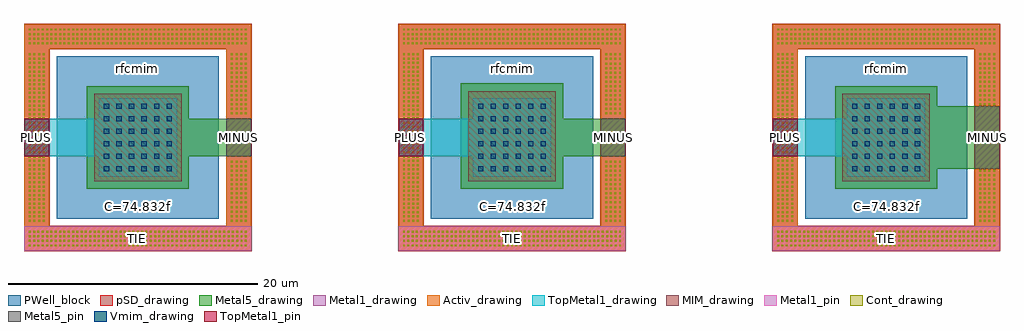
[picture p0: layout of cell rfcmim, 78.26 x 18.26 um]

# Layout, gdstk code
import gdstk
lib = gdstk.Library(unit=1e-6, precision=1e-09)
def R(c, l, rs):  # rectangles x0, y0, x1, y1
    for r in rs: c.add(gdstk.rectangle(r[:2], r[2:], *l))
def A(c, l, x, y, w, h, nx, ny, dx, dy):  # array of equal rectangles
    R(c, l, [(x+i*dx, y+j*dy, x+i*dx+w, y+j*dy+h) for i in range(nx) for j in range(ny)])
def P(c, l, *ps):  # polygons
    for p in ps: c.add(gdstk.Polygon(p, *l))
Activ_drawing = (1, 0)
Cont_drawing = (6, 0)
Metal1_drawing = (8, 0)
Metal1_pin = (8, 2)
pSD_drawing = (14, 0)
MIM_drawing = (36, 0)
PWell_block = (46, 21)
Metal5_drawing = (67, 0)
Metal5_pin = (67, 2)
TopMetal1_drawing = (126, 0)
TopMetal1_pin = (126, 2)
Vmim_drawing = (129, 0)

rfcmim = lib.new_cell('rfcmim')
P(rfcmim, Activ_drawing, [(54.4,-5.6),(54.4,12.6),(72.6,12.6),(72.6,6),(70.6,6),(70.6,10.6),(56.4,10.6),(56.4,-3.6),(70.6,-3.6),(70.6,1),(72.6,1),(72.6,-5.6)],
  [(24.4,-5.6),(24.4,12.6),(42.6,12.6),(42.6,5),(40.6,5),(40.6,10.6),(26.4,10.6),(26.4,-3.6),(40.6,-3.6),(40.6,2),(42.6,2),(42.6,-5.6)],
  [(-5.6,-5.6),(-5.6,12.6),(12.6,12.6),(12.6,5),(10.6,5),(10.6,10.6),(-3.6,10.6),(-3.6,-3.6),(10.6,-3.6),(10.6,2),(12.6,2),(12.6,-5.6)])
A(rfcmim, Cont_drawing, -5.24, -5.24, 0.16, 0.16, 4, 2, 0.345, 0.37)
A(rfcmim, Cont_drawing, -3.855, -5.24, 0.16, 0.16, 4, 2, 0.345, 0.37)
A(rfcmim, Cont_drawing, -2.47, -5.24, 0.16, 0.16, 3, 2, 0.345, 0.37)
A(rfcmim, Cont_drawing, -1.43, -5.24, 0.16, 0.16, 4, 2, 0.345, 0.37)
A(rfcmim, Cont_drawing, -0.045, -5.24, 0.16, 0.16, 3, 2, 0.345, 0.37)
A(rfcmim, Cont_drawing, 0.995, -5.24, 0.16, 0.16, 4, 2, 0.345, 0.37)
A(rfcmim, Cont_drawing, 2.38, -5.24, 0.16, 0.16, 3, 2, 0.345, 0.37)
A(rfcmim, Cont_drawing, 3.42, -5.24, 0.16, 0.16, 4, 2, 0.345, 0.37)
A(rfcmim, Cont_drawing, 4.805, -5.24, 0.16, 0.16, 4, 2, 0.345, 0.37)
A(rfcmim, Cont_drawing, 6.19, -5.24, 0.16, 0.16, 3, 2, 0.345, 0.37)
A(rfcmim, Cont_drawing, 7.23, -5.24, 0.16, 0.16, 4, 2, 0.345, 0.37)
A(rfcmim, Cont_drawing, 8.615, -5.24, 0.16, 0.16, 3, 2, 0.345, 0.37)
A(rfcmim, Cont_drawing, 9.655, -5.24, 0.16, 0.16, 4, 2, 0.345, 0.37)
A(rfcmim, Cont_drawing, 11.04, -5.24, 0.16, 0.16, 3, 2, 0.345, 0.37)
A(rfcmim, Cont_drawing, 24.76, -5.24, 0.16, 0.16, 4, 2, 0.345, 0.37)
A(rfcmim, Cont_drawing, 26.145, -5.24, 0.16, 0.16, 4, 2, 0.345, 0.37)
A(rfcmim, Cont_drawing, 27.53, -5.24, 0.16, 0.16, 3, 2, 0.345, 0.37)
A(rfcmim, Cont_drawing, 28.57, -5.24, 0.16, 0.16, 4, 2, 0.345, 0.37)
A(rfcmim, Cont_drawing, 29.955, -5.24, 0.16, 0.16, 3, 2, 0.345, 0.37)
A(rfcmim, Cont_drawing, 30.995, -5.24, 0.16, 0.16, 4, 2, 0.345, 0.37)
A(rfcmim, Cont_drawing, 32.38, -5.24, 0.16, 0.16, 3, 2, 0.345, 0.37)
A(rfcmim, Cont_drawing, 33.42, -5.24, 0.16, 0.16, 4, 2, 0.345, 0.37)
A(rfcmim, Cont_drawing, 34.805, -5.24, 0.16, 0.16, 4, 2, 0.345, 0.37)
A(rfcmim, Cont_drawing, 36.19, -5.24, 0.16, 0.16, 3, 2, 0.345, 0.37)
A(rfcmim, Cont_drawing, 37.23, -5.24, 0.16, 0.16, 4, 2, 0.345, 0.37)
A(rfcmim, Cont_drawing, 38.615, -5.24, 0.16, 0.16, 3, 2, 0.345, 0.37)
A(rfcmim, Cont_drawing, 39.655, -5.24, 0.16, 0.16, 4, 2, 0.345, 0.37)
A(rfcmim, Cont_drawing, 41.04, -5.24, 0.16, 0.16, 3, 2, 0.345, 0.37)
A(rfcmim, Cont_drawing, 54.76, -5.24, 0.16, 0.16, 4, 2, 0.345, 0.37)
A(rfcmim, Cont_drawing, 56.145, -5.24, 0.16, 0.16, 4, 2, 0.345, 0.37)
A(rfcmim, Cont_drawing, 57.53, -5.24, 0.16, 0.16, 3, 2, 0.345, 0.37)
A(rfcmim, Cont_drawing, 58.57, -5.24, 0.16, 0.16, 4, 2, 0.345, 0.37)
A(rfcmim, Cont_drawing, 59.955, -5.24, 0.16, 0.16, 3, 2, 0.345, 0.37)
A(rfcmim, Cont_drawing, 60.995, -5.24, 0.16, 0.16, 4, 2, 0.345, 0.37)
A(rfcmim, Cont_drawing, 62.38, -5.24, 0.16, 0.16, 3, 2, 0.345, 0.37)
A(rfcmim, Cont_drawing, 63.42, -5.24, 0.16, 0.16, 4, 2, 0.345, 0.37)
A(rfcmim, Cont_drawing, 64.805, -5.24, 0.16, 0.16, 4, 2, 0.345, 0.37)
A(rfcmim, Cont_drawing, 66.19, -5.24, 0.16, 0.16, 3, 2, 0.345, 0.37)
A(rfcmim, Cont_drawing, 67.23, -5.24, 0.16, 0.16, 4, 2, 0.345, 0.37)
A(rfcmim, Cont_drawing, 68.615, -5.24, 0.16, 0.16, 3, 2, 0.345, 0.37)
A(rfcmim, Cont_drawing, 69.655, -5.24, 0.16, 0.16, 4, 2, 0.345, 0.37)
A(rfcmim, Cont_drawing, 71.04, -5.24, 0.16, 0.16, 3, 2, 0.345, 0.37)
A(rfcmim, Cont_drawing, 12.08, -4.87, 0.16, 0.16, 1, 3, 0, 0.375)
A(rfcmim, Cont_drawing, 42.08, -4.87, 0.16, 0.16, 1, 3, 0, 0.375)
A(rfcmim, Cont_drawing, 72.08, -4.87, 0.16, 0.16, 1, 3, 0, 0.375)
A(rfcmim, Cont_drawing, -5.24, -4.495, 0.16, 0.16, 4, 2, 0.345, 0.375)
A(rfcmim, Cont_drawing, -3.855, -4.495, 0.16, 0.16, 4, 2, 0.345, 0.375)
A(rfcmim, Cont_drawing, -2.47, -4.495, 0.16, 0.16, 3, 2, 0.345, 0.375)
A(rfcmim, Cont_drawing, -1.43, -4.495, 0.16, 0.16, 4, 2, 0.345, 0.375)
A(rfcmim, Cont_drawing, -0.045, -4.495, 0.16, 0.16, 3, 2, 0.345, 0.375)
A(rfcmim, Cont_drawing, 0.995, -4.495, 0.16, 0.16, 4, 2, 0.345, 0.375)
A(rfcmim, Cont_drawing, 2.38, -4.495, 0.16, 0.16, 3, 2, 0.345, 0.375)
A(rfcmim, Cont_drawing, 3.42, -4.495, 0.16, 0.16, 4, 2, 0.345, 0.375)
A(rfcmim, Cont_drawing, 4.805, -4.495, 0.16, 0.16, 4, 2, 0.345, 0.375)
A(rfcmim, Cont_drawing, 6.19, -4.495, 0.16, 0.16, 3, 2, 0.345, 0.375)
A(rfcmim, Cont_drawing, 7.23, -4.495, 0.16, 0.16, 4, 2, 0.345, 0.375)
A(rfcmim, Cont_drawing, 8.615, -4.495, 0.16, 0.16, 3, 2, 0.345, 0.375)
A(rfcmim, Cont_drawing, 9.655, -4.495, 0.16, 0.16, 4, 2, 0.345, 0.375)
A(rfcmim, Cont_drawing, 11.04, -4.495, 0.16, 0.16, 3, 2, 0.345, 0.375)
A(rfcmim, Cont_drawing, 24.76, -4.495, 0.16, 0.16, 4, 2, 0.345, 0.375)
A(rfcmim, Cont_drawing, 26.145, -4.495, 0.16, 0.16, 4, 2, 0.345, 0.375)
A(rfcmim, Cont_drawing, 27.53, -4.495, 0.16, 0.16, 3, 2, 0.345, 0.375)
A(rfcmim, Cont_drawing, 28.57, -4.495, 0.16, 0.16, 4, 2, 0.345, 0.375)
A(rfcmim, Cont_drawing, 29.955, -4.495, 0.16, 0.16, 3, 2, 0.345, 0.375)
A(rfcmim, Cont_drawing, 30.995, -4.495, 0.16, 0.16, 4, 2, 0.345, 0.375)
A(rfcmim, Cont_drawing, 32.38, -4.495, 0.16, 0.16, 3, 2, 0.345, 0.375)
A(rfcmim, Cont_drawing, 33.42, -4.495, 0.16, 0.16, 4, 2, 0.345, 0.375)
A(rfcmim, Cont_drawing, 34.805, -4.495, 0.16, 0.16, 4, 2, 0.345, 0.375)
A(rfcmim, Cont_drawing, 36.19, -4.495, 0.16, 0.16, 3, 2, 0.345, 0.375)
A(rfcmim, Cont_drawing, 37.23, -4.495, 0.16, 0.16, 4, 2, 0.345, 0.375)
A(rfcmim, Cont_drawing, 38.615, -4.495, 0.16, 0.16, 3, 2, 0.345, 0.375)
A(rfcmim, Cont_drawing, 39.655, -4.495, 0.16, 0.16, 4, 2, 0.345, 0.375)
A(rfcmim, Cont_drawing, 41.04, -4.495, 0.16, 0.16, 3, 2, 0.345, 0.375)
A(rfcmim, Cont_drawing, 54.76, -4.495, 0.16, 0.16, 4, 2, 0.345, 0.375)
A(rfcmim, Cont_drawing, 56.145, -4.495, 0.16, 0.16, 4, 2, 0.345, 0.375)
A(rfcmim, Cont_drawing, 57.53, -4.495, 0.16, 0.16, 3, 2, 0.345, 0.375)
A(rfcmim, Cont_drawing, 58.57, -4.495, 0.16, 0.16, 4, 2, 0.345, 0.375)
A(rfcmim, Cont_drawing, 59.955, -4.495, 0.16, 0.16, 3, 2, 0.345, 0.375)
A(rfcmim, Cont_drawing, 60.995, -4.495, 0.16, 0.16, 4, 2, 0.345, 0.375)
A(rfcmim, Cont_drawing, 62.38, -4.495, 0.16, 0.16, 3, 2, 0.345, 0.375)
A(rfcmim, Cont_drawing, 63.42, -4.495, 0.16, 0.16, 4, 2, 0.345, 0.375)
A(rfcmim, Cont_drawing, 64.805, -4.495, 0.16, 0.16, 4, 2, 0.345, 0.375)
A(rfcmim, Cont_drawing, 66.19, -4.495, 0.16, 0.16, 3, 2, 0.345, 0.375)
A(rfcmim, Cont_drawing, 67.23, -4.495, 0.16, 0.16, 4, 2, 0.345, 0.375)
A(rfcmim, Cont_drawing, 68.615, -4.495, 0.16, 0.16, 3, 2, 0.345, 0.375)
A(rfcmim, Cont_drawing, 69.655, -4.495, 0.16, 0.16, 4, 2, 0.345, 0.375)
A(rfcmim, Cont_drawing, 71.04, -4.495, 0.16, 0.16, 3, 2, 0.345, 0.375)
A(rfcmim, Cont_drawing, -5.24, -3.24, 0.16, 0.16, 1, 4, 0, 0.34)
A(rfcmim, Cont_drawing, -4.87, -3.24, 0.16, 0.16, 3, 4, 0.375, 0.34)
A(rfcmim, Cont_drawing, 11.33, -3.24, 0.16, 0.16, 3, 2, 0.375, 0.36)
A(rfcmim, Cont_drawing, 24.76, -3.24, 0.16, 0.16, 1, 4, 0, 0.34)
A(rfcmim, Cont_drawing, 25.13, -3.24, 0.16, 0.16, 3, 4, 0.375, 0.34)
A(rfcmim, Cont_drawing, 41.33, -3.24, 0.16, 0.16, 3, 2, 0.375, 0.36)
A(rfcmim, Cont_drawing, 54.76, -3.24, 0.16, 0.16, 1, 4, 0, 0.34)
A(rfcmim, Cont_drawing, 55.13, -3.24, 0.16, 0.16, 3, 4, 0.375, 0.34)
A(rfcmim, Cont_drawing, 71.33, -3.24, 0.16, 0.16, 3, 2, 0.375, 0.36)
A(rfcmim, Cont_drawing, 11.33, -2.515, 0.16, 0.16, 3, 2, 0.375, 0.36)
A(rfcmim, Cont_drawing, 41.33, -2.515, 0.16, 0.16, 3, 2, 0.375, 0.36)
A(rfcmim, Cont_drawing, 71.33, -2.515, 0.16, 0.16, 3, 2, 0.375, 0.36)
A(rfcmim, Cont_drawing, 10.96, -2.155, 0.16, 0.16, 1, 3, 0, 0.365)
A(rfcmim, Cont_drawing, 40.96, -2.155, 0.16, 0.16, 1, 3, 0, 0.365)
A(rfcmim, Cont_drawing, 70.96, -2.155, 0.16, 0.16, 1, 3, 0, 0.365)
A(rfcmim, Cont_drawing, -5.24, -1.875, 0.16, 0.16, 1, 3, 0, 0.34)
A(rfcmim, Cont_drawing, -4.87, -1.875, 0.16, 0.16, 3, 3, 0.375, 0.34)
A(rfcmim, Cont_drawing, 24.76, -1.875, 0.16, 0.16, 1, 3, 0, 0.34)
A(rfcmim, Cont_drawing, 25.13, -1.875, 0.16, 0.16, 3, 3, 0.375, 0.34)
A(rfcmim, Cont_drawing, 54.76, -1.875, 0.16, 0.16, 1, 3, 0, 0.34)
A(rfcmim, Cont_drawing, 55.13, -1.875, 0.16, 0.16, 3, 3, 0.375, 0.34)
A(rfcmim, Cont_drawing, 11.33, -1.79, 0.16, 0.16, 3, 2, 0.375, 0.365)
A(rfcmim, Cont_drawing, 41.33, -1.79, 0.16, 0.16, 3, 2, 0.375, 0.365)
A(rfcmim, Cont_drawing, 71.33, -1.79, 0.16, 0.16, 3, 2, 0.375, 0.365)
A(rfcmim, Cont_drawing, 11.33, -1.065, 0.16, 0.16, 3, 2, 0.375, 0.365)
A(rfcmim, Cont_drawing, 41.33, -1.065, 0.16, 0.16, 3, 2, 0.375, 0.365)
A(rfcmim, Cont_drawing, 71.33, -1.065, 0.16, 0.16, 3, 2, 0.375, 0.365)
A(rfcmim, Cont_drawing, -5.24, -0.85, 0.16, 0.16, 1, 3, 0, 0.34)
A(rfcmim, Cont_drawing, -4.87, -0.85, 0.16, 0.16, 3, 3, 0.375, 0.34)
A(rfcmim, Cont_drawing, 24.76, -0.85, 0.16, 0.16, 1, 3, 0, 0.34)
A(rfcmim, Cont_drawing, 25.13, -0.85, 0.16, 0.16, 3, 3, 0.375, 0.34)
A(rfcmim, Cont_drawing, 54.76, -0.85, 0.16, 0.16, 1, 3, 0, 0.34)
A(rfcmim, Cont_drawing, 55.13, -0.85, 0.16, 0.16, 3, 3, 0.375, 0.34)
A(rfcmim, Cont_drawing, 10.96, -0.34, 0.16, 0.16, 1, 3, 0, 0.365)
A(rfcmim, Cont_drawing, 11.33, -0.34, 0.16, 0.16, 3, 3, 0.375, 0.365)
A(rfcmim, Cont_drawing, 40.96, -0.34, 0.16, 0.16, 1, 3, 0, 0.365)
A(rfcmim, Cont_drawing, 41.33, -0.34, 0.16, 0.16, 3, 3, 0.375, 0.365)
A(rfcmim, Cont_drawing, 70.96, -0.34, 0.16, 0.16, 1, 3, 0, 0.365)
A(rfcmim, Cont_drawing, 71.33, -0.34, 0.16, 0.16, 3, 3, 0.375, 0.365)
A(rfcmim, Cont_drawing, -5.24, 0.175, 0.16, 0.16, 1, 3, 0, 0.34)
A(rfcmim, Cont_drawing, -4.87, 0.175, 0.16, 0.16, 3, 3, 0.375, 0.34)
A(rfcmim, Cont_drawing, 24.76, 0.175, 0.16, 0.16, 1, 3, 0, 0.34)
A(rfcmim, Cont_drawing, 25.13, 0.175, 0.16, 0.16, 3, 3, 0.375, 0.34)
A(rfcmim, Cont_drawing, 54.76, 0.175, 0.16, 0.16, 1, 3, 0, 0.34)
A(rfcmim, Cont_drawing, 55.13, 0.175, 0.16, 0.16, 3, 3, 0.375, 0.34)
A(rfcmim, Cont_drawing, 10.96, 0.75, 0.16, 0.16, 1, 3, 0, 0.365)
A(rfcmim, Cont_drawing, 11.33, 0.75, 0.16, 0.16, 3, 3, 0.375, 0.365)
A(rfcmim, Cont_drawing, 40.96, 0.75, 0.16, 0.16, 1, 3, 0, 0.365)
A(rfcmim, Cont_drawing, 41.33, 0.75, 0.16, 0.16, 3, 3, 0.375, 0.365)
A(rfcmim, Cont_drawing, 71.33, 0.75, 0.16, 0.16, 3, 2, 0.375, 5.335)
A(rfcmim, Cont_drawing, -5.24, 1.2, 0.16, 0.16, 1, 4, 0, 0.34)
A(rfcmim, Cont_drawing, -4.87, 1.2, 0.16, 0.16, 3, 4, 0.375, 0.34)
A(rfcmim, Cont_drawing, 24.76, 1.2, 0.16, 0.16, 1, 4, 0, 0.34)
A(rfcmim, Cont_drawing, 25.13, 1.2, 0.16, 0.16, 3, 4, 0.375, 0.34)
A(rfcmim, Cont_drawing, 54.76, 1.2, 0.16, 0.16, 1, 4, 0, 0.34)
A(rfcmim, Cont_drawing, 55.13, 1.2, 0.16, 0.16, 3, 4, 0.375, 0.34)
A(rfcmim, Cont_drawing, -5.24, 2.565, 0.16, 0.16, 1, 3, 0, 0.34)
A(rfcmim, Cont_drawing, -4.87, 2.565, 0.16, 0.16, 3, 3, 0.375, 0.34)
A(rfcmim, Cont_drawing, 24.76, 2.565, 0.16, 0.16, 1, 3, 0, 0.34)
A(rfcmim, Cont_drawing, 25.13, 2.565, 0.16, 0.16, 3, 3, 0.375, 0.34)
A(rfcmim, Cont_drawing, 54.76, 2.565, 0.16, 0.16, 1, 3, 0, 0.34)
A(rfcmim, Cont_drawing, 55.13, 2.565, 0.16, 0.16, 3, 3, 0.375, 0.34)
A(rfcmim, Cont_drawing, -5.24, 3.59, 0.16, 0.16, 1, 3, 0, 0.34)
A(rfcmim, Cont_drawing, -4.87, 3.59, 0.16, 0.16, 3, 3, 0.375, 0.34)
A(rfcmim, Cont_drawing, 24.76, 3.59, 0.16, 0.16, 1, 3, 0, 0.34)
A(rfcmim, Cont_drawing, 25.13, 3.59, 0.16, 0.16, 3, 3, 0.375, 0.34)
A(rfcmim, Cont_drawing, 54.76, 3.59, 0.16, 0.16, 1, 3, 0, 0.34)
A(rfcmim, Cont_drawing, 55.13, 3.59, 0.16, 0.16, 3, 3, 0.375, 0.34)
A(rfcmim, Cont_drawing, -5.24, 4.615, 0.16, 0.16, 1, 3, 0, 0.34)
A(rfcmim, Cont_drawing, -4.87, 4.615, 0.16, 0.16, 3, 3, 0.375, 0.34)
A(rfcmim, Cont_drawing, 24.76, 4.615, 0.16, 0.16, 1, 3, 0, 0.34)
A(rfcmim, Cont_drawing, 25.13, 4.615, 0.16, 0.16, 3, 3, 0.375, 0.34)
A(rfcmim, Cont_drawing, 54.76, 4.615, 0.16, 0.16, 1, 3, 0, 0.34)
A(rfcmim, Cont_drawing, 55.13, 4.615, 0.16, 0.16, 3, 3, 0.375, 0.34)
A(rfcmim, Cont_drawing, 11.33, 5.36, 0.16, 0.16, 3, 2, 0.375, 0.36)
A(rfcmim, Cont_drawing, 41.33, 5.36, 0.16, 0.16, 3, 2, 0.375, 0.36)
A(rfcmim, Cont_drawing, -5.24, 5.64, 0.16, 0.16, 1, 4, 0, 0.34)
A(rfcmim, Cont_drawing, -4.87, 5.64, 0.16, 0.16, 3, 4, 0.375, 0.34)
A(rfcmim, Cont_drawing, 24.76, 5.64, 0.16, 0.16, 1, 4, 0, 0.34)
A(rfcmim, Cont_drawing, 25.13, 5.64, 0.16, 0.16, 3, 4, 0.375, 0.34)
A(rfcmim, Cont_drawing, 54.76, 5.64, 0.16, 0.16, 1, 4, 0, 0.34)
A(rfcmim, Cont_drawing, 55.13, 5.64, 0.16, 0.16, 3, 4, 0.375, 0.34)
A(rfcmim, Cont_drawing, 11.33, 6.085, 0.16, 0.16, 3, 2, 0.375, 0.36)
A(rfcmim, Cont_drawing, 41.33, 6.085, 0.16, 0.16, 3, 2, 0.375, 0.36)
A(rfcmim, Cont_drawing, 10.96, 6.445, 0.16, 0.16, 1, 3, 0, 0.365)
A(rfcmim, Cont_drawing, 40.96, 6.445, 0.16, 0.16, 1, 3, 0, 0.365)
A(rfcmim, Cont_drawing, 70.96, 6.445, 0.16, 0.16, 1, 3, 0, 0.365)
A(rfcmim, Cont_drawing, 71.33, 6.445, 0.16, 0.16, 3, 3, 0.375, 0.365)
A(rfcmim, Cont_drawing, 11.33, 6.81, 0.16, 0.16, 3, 2, 0.375, 0.365)
A(rfcmim, Cont_drawing, 41.33, 6.81, 0.16, 0.16, 3, 2, 0.375, 0.365)
A(rfcmim, Cont_drawing, -5.24, 7.005, 0.16, 0.16, 1, 3, 0, 0.34)
A(rfcmim, Cont_drawing, -4.87, 7.005, 0.16, 0.16, 3, 3, 0.375, 0.34)
A(rfcmim, Cont_drawing, 24.76, 7.005, 0.16, 0.16, 1, 3, 0, 0.34)
A(rfcmim, Cont_drawing, 25.13, 7.005, 0.16, 0.16, 3, 3, 0.375, 0.34)
A(rfcmim, Cont_drawing, 54.76, 7.005, 0.16, 0.16, 1, 3, 0, 0.34)
A(rfcmim, Cont_drawing, 55.13, 7.005, 0.16, 0.16, 3, 3, 0.375, 0.34)
A(rfcmim, Cont_drawing, 11.33, 7.535, 0.16, 0.16, 3, 2, 0.375, 0.365)
A(rfcmim, Cont_drawing, 41.33, 7.535, 0.16, 0.16, 3, 2, 0.375, 0.365)
A(rfcmim, Cont_drawing, 71.33, 7.535, 0.16, 0.16, 3, 2, 0.375, 0.365)
A(rfcmim, Cont_drawing, -5.24, 8.03, 0.16, 0.16, 1, 3, 0, 0.34)
A(rfcmim, Cont_drawing, -4.87, 8.03, 0.16, 0.16, 3, 3, 0.375, 0.34)
A(rfcmim, Cont_drawing, 24.76, 8.03, 0.16, 0.16, 1, 3, 0, 0.34)
A(rfcmim, Cont_drawing, 25.13, 8.03, 0.16, 0.16, 3, 3, 0.375, 0.34)
A(rfcmim, Cont_drawing, 54.76, 8.03, 0.16, 0.16, 1, 3, 0, 0.34)
A(rfcmim, Cont_drawing, 55.13, 8.03, 0.16, 0.16, 3, 3, 0.375, 0.34)
A(rfcmim, Cont_drawing, 10.96, 8.26, 0.16, 0.16, 1, 3, 0, 0.365)
A(rfcmim, Cont_drawing, 11.33, 8.26, 0.16, 0.16, 3, 3, 0.375, 0.365)
A(rfcmim, Cont_drawing, 40.96, 8.26, 0.16, 0.16, 1, 3, 0, 0.365)
A(rfcmim, Cont_drawing, 41.33, 8.26, 0.16, 0.16, 3, 3, 0.375, 0.365)
A(rfcmim, Cont_drawing, 70.96, 8.26, 0.16, 0.16, 1, 3, 0, 0.365)
A(rfcmim, Cont_drawing, 71.33, 8.26, 0.16, 0.16, 3, 3, 0.375, 0.365)
A(rfcmim, Cont_drawing, -5.24, 9.055, 0.16, 0.16, 1, 3, 0, 0.34)
A(rfcmim, Cont_drawing, -4.87, 9.055, 0.16, 0.16, 3, 3, 0.375, 0.34)
A(rfcmim, Cont_drawing, 24.76, 9.055, 0.16, 0.16, 1, 3, 0, 0.34)
A(rfcmim, Cont_drawing, 25.13, 9.055, 0.16, 0.16, 3, 3, 0.375, 0.34)
A(rfcmim, Cont_drawing, 54.76, 9.055, 0.16, 0.16, 1, 3, 0, 0.34)
A(rfcmim, Cont_drawing, 55.13, 9.055, 0.16, 0.16, 3, 3, 0.375, 0.34)
A(rfcmim, Cont_drawing, 10.96, 9.35, 0.16, 0.16, 1, 3, 0, 0.365)
A(rfcmim, Cont_drawing, 11.33, 9.35, 0.16, 0.16, 3, 3, 0.375, 0.365)
A(rfcmim, Cont_drawing, 40.96, 9.35, 0.16, 0.16, 1, 3, 0, 0.365)
A(rfcmim, Cont_drawing, 41.33, 9.35, 0.16, 0.16, 3, 3, 0.375, 0.365)
A(rfcmim, Cont_drawing, 70.96, 9.35, 0.16, 0.16, 1, 3, 0, 0.365)
A(rfcmim, Cont_drawing, 71.33, 9.35, 0.16, 0.16, 3, 3, 0.375, 0.365)
A(rfcmim, Cont_drawing, -4.87, 10.08, 0.16, 0.16, 3, 1, 0.375, 0)
A(rfcmim, Cont_drawing, 25.13, 10.08, 0.16, 0.16, 3, 1, 0.375, 0)
A(rfcmim, Cont_drawing, 55.13, 10.08, 0.16, 0.16, 3, 1, 0.375, 0)
A(rfcmim, Cont_drawing, -5.24, 10.96, 0.16, 0.16, 4, 2, 0.345, 0.37)
A(rfcmim, Cont_drawing, -3.855, 10.96, 0.16, 0.16, 4, 2, 0.345, 0.37)
A(rfcmim, Cont_drawing, -2.47, 10.96, 0.16, 0.16, 3, 2, 0.345, 0.37)
A(rfcmim, Cont_drawing, -1.43, 10.96, 0.16, 0.16, 4, 2, 0.345, 0.37)
A(rfcmim, Cont_drawing, -0.045, 10.96, 0.16, 0.16, 3, 2, 0.345, 0.37)
A(rfcmim, Cont_drawing, 0.995, 10.96, 0.16, 0.16, 4, 2, 0.345, 0.37)
A(rfcmim, Cont_drawing, 2.38, 10.96, 0.16, 0.16, 3, 2, 0.345, 0.37)
A(rfcmim, Cont_drawing, 3.42, 10.96, 0.16, 0.16, 4, 2, 0.345, 0.37)
A(rfcmim, Cont_drawing, 4.805, 10.96, 0.16, 0.16, 4, 2, 0.345, 0.37)
A(rfcmim, Cont_drawing, 6.19, 10.96, 0.16, 0.16, 3, 2, 0.345, 0.37)
A(rfcmim, Cont_drawing, 7.23, 10.96, 0.16, 0.16, 4, 2, 0.345, 0.37)
A(rfcmim, Cont_drawing, 8.615, 10.96, 0.16, 0.16, 3, 2, 0.345, 0.37)
A(rfcmim, Cont_drawing, 9.655, 10.96, 0.16, 0.16, 4, 2, 0.345, 0.37)
A(rfcmim, Cont_drawing, 11.04, 10.96, 0.16, 0.16, 3, 2, 0.345, 0.37)
A(rfcmim, Cont_drawing, 24.76, 10.96, 0.16, 0.16, 4, 2, 0.345, 0.37)
A(rfcmim, Cont_drawing, 26.145, 10.96, 0.16, 0.16, 4, 2, 0.345, 0.37)
A(rfcmim, Cont_drawing, 27.53, 10.96, 0.16, 0.16, 3, 2, 0.345, 0.37)
A(rfcmim, Cont_drawing, 28.57, 10.96, 0.16, 0.16, 4, 2, 0.345, 0.37)
A(rfcmim, Cont_drawing, 29.955, 10.96, 0.16, 0.16, 3, 2, 0.345, 0.37)
A(rfcmim, Cont_drawing, 30.995, 10.96, 0.16, 0.16, 4, 2, 0.345, 0.37)
A(rfcmim, Cont_drawing, 32.38, 10.96, 0.16, 0.16, 3, 2, 0.345, 0.37)
A(rfcmim, Cont_drawing, 33.42, 10.96, 0.16, 0.16, 4, 2, 0.345, 0.37)
A(rfcmim, Cont_drawing, 34.805, 10.96, 0.16, 0.16, 4, 2, 0.345, 0.37)
A(rfcmim, Cont_drawing, 36.19, 10.96, 0.16, 0.16, 3, 2, 0.345, 0.37)
A(rfcmim, Cont_drawing, 37.23, 10.96, 0.16, 0.16, 4, 2, 0.345, 0.37)
A(rfcmim, Cont_drawing, 38.615, 10.96, 0.16, 0.16, 3, 2, 0.345, 0.37)
A(rfcmim, Cont_drawing, 39.655, 10.96, 0.16, 0.16, 4, 2, 0.345, 0.37)
A(rfcmim, Cont_drawing, 41.04, 10.96, 0.16, 0.16, 3, 2, 0.345, 0.37)
A(rfcmim, Cont_drawing, 54.76, 10.96, 0.16, 0.16, 4, 2, 0.345, 0.37)
A(rfcmim, Cont_drawing, 56.145, 10.96, 0.16, 0.16, 4, 2, 0.345, 0.37)
A(rfcmim, Cont_drawing, 57.53, 10.96, 0.16, 0.16, 3, 2, 0.345, 0.37)
A(rfcmim, Cont_drawing, 58.57, 10.96, 0.16, 0.16, 4, 2, 0.345, 0.37)
A(rfcmim, Cont_drawing, 59.955, 10.96, 0.16, 0.16, 3, 2, 0.345, 0.37)
A(rfcmim, Cont_drawing, 60.995, 10.96, 0.16, 0.16, 4, 2, 0.345, 0.37)
A(rfcmim, Cont_drawing, 62.38, 10.96, 0.16, 0.16, 3, 2, 0.345, 0.37)
A(rfcmim, Cont_drawing, 63.42, 10.96, 0.16, 0.16, 4, 2, 0.345, 0.37)
A(rfcmim, Cont_drawing, 64.805, 10.96, 0.16, 0.16, 4, 2, 0.345, 0.37)
A(rfcmim, Cont_drawing, 66.19, 10.96, 0.16, 0.16, 3, 2, 0.345, 0.37)
A(rfcmim, Cont_drawing, 67.23, 10.96, 0.16, 0.16, 4, 2, 0.345, 0.37)
A(rfcmim, Cont_drawing, 68.615, 10.96, 0.16, 0.16, 3, 2, 0.345, 0.37)
A(rfcmim, Cont_drawing, 69.655, 10.96, 0.16, 0.16, 4, 2, 0.345, 0.37)
A(rfcmim, Cont_drawing, 71.04, 10.96, 0.16, 0.16, 3, 2, 0.345, 0.37)
A(rfcmim, Cont_drawing, 12.08, 11.33, 0.16, 0.16, 1, 3, 0, 0.375)
A(rfcmim, Cont_drawing, 42.08, 11.33, 0.16, 0.16, 1, 3, 0, 0.375)
A(rfcmim, Cont_drawing, 72.08, 11.33, 0.16, 0.16, 1, 3, 0, 0.375)
A(rfcmim, Cont_drawing, -5.24, 11.705, 0.16, 0.16, 4, 2, 0.345, 0.375)
A(rfcmim, Cont_drawing, -3.855, 11.705, 0.16, 0.16, 4, 2, 0.345, 0.375)
A(rfcmim, Cont_drawing, -2.47, 11.705, 0.16, 0.16, 3, 2, 0.345, 0.375)
A(rfcmim, Cont_drawing, -1.43, 11.705, 0.16, 0.16, 4, 2, 0.345, 0.375)
A(rfcmim, Cont_drawing, -0.045, 11.705, 0.16, 0.16, 3, 2, 0.345, 0.375)
A(rfcmim, Cont_drawing, 0.995, 11.705, 0.16, 0.16, 4, 2, 0.345, 0.375)
A(rfcmim, Cont_drawing, 2.38, 11.705, 0.16, 0.16, 3, 2, 0.345, 0.375)
A(rfcmim, Cont_drawing, 3.42, 11.705, 0.16, 0.16, 4, 2, 0.345, 0.375)
A(rfcmim, Cont_drawing, 4.805, 11.705, 0.16, 0.16, 4, 2, 0.345, 0.375)
A(rfcmim, Cont_drawing, 6.19, 11.705, 0.16, 0.16, 3, 2, 0.345, 0.375)
A(rfcmim, Cont_drawing, 7.23, 11.705, 0.16, 0.16, 4, 2, 0.345, 0.375)
A(rfcmim, Cont_drawing, 8.615, 11.705, 0.16, 0.16, 3, 2, 0.345, 0.375)
A(rfcmim, Cont_drawing, 9.655, 11.705, 0.16, 0.16, 4, 2, 0.345, 0.375)
A(rfcmim, Cont_drawing, 11.04, 11.705, 0.16, 0.16, 3, 2, 0.345, 0.375)
A(rfcmim, Cont_drawing, 24.76, 11.705, 0.16, 0.16, 4, 2, 0.345, 0.375)
A(rfcmim, Cont_drawing, 26.145, 11.705, 0.16, 0.16, 4, 2, 0.345, 0.375)
A(rfcmim, Cont_drawing, 27.53, 11.705, 0.16, 0.16, 3, 2, 0.345, 0.375)
A(rfcmim, Cont_drawing, 28.57, 11.705, 0.16, 0.16, 4, 2, 0.345, 0.375)
A(rfcmim, Cont_drawing, 29.955, 11.705, 0.16, 0.16, 3, 2, 0.345, 0.375)
A(rfcmim, Cont_drawing, 30.995, 11.705, 0.16, 0.16, 4, 2, 0.345, 0.375)
A(rfcmim, Cont_drawing, 32.38, 11.705, 0.16, 0.16, 3, 2, 0.345, 0.375)
A(rfcmim, Cont_drawing, 33.42, 11.705, 0.16, 0.16, 4, 2, 0.345, 0.375)
A(rfcmim, Cont_drawing, 34.805, 11.705, 0.16, 0.16, 4, 2, 0.345, 0.375)
A(rfcmim, Cont_drawing, 36.19, 11.705, 0.16, 0.16, 3, 2, 0.345, 0.375)
A(rfcmim, Cont_drawing, 37.23, 11.705, 0.16, 0.16, 4, 2, 0.345, 0.375)
A(rfcmim, Cont_drawing, 38.615, 11.705, 0.16, 0.16, 3, 2, 0.345, 0.375)
A(rfcmim, Cont_drawing, 39.655, 11.705, 0.16, 0.16, 4, 2, 0.345, 0.375)
A(rfcmim, Cont_drawing, 41.04, 11.705, 0.16, 0.16, 3, 2, 0.345, 0.375)
A(rfcmim, Cont_drawing, 54.76, 11.705, 0.16, 0.16, 4, 2, 0.345, 0.375)
A(rfcmim, Cont_drawing, 56.145, 11.705, 0.16, 0.16, 4, 2, 0.345, 0.375)
A(rfcmim, Cont_drawing, 57.53, 11.705, 0.16, 0.16, 3, 2, 0.345, 0.375)
A(rfcmim, Cont_drawing, 58.57, 11.705, 0.16, 0.16, 4, 2, 0.345, 0.375)
A(rfcmim, Cont_drawing, 59.955, 11.705, 0.16, 0.16, 3, 2, 0.345, 0.375)
A(rfcmim, Cont_drawing, 60.995, 11.705, 0.16, 0.16, 4, 2, 0.345, 0.375)
A(rfcmim, Cont_drawing, 62.38, 11.705, 0.16, 0.16, 3, 2, 0.345, 0.375)
A(rfcmim, Cont_drawing, 63.42, 11.705, 0.16, 0.16, 4, 2, 0.345, 0.375)
A(rfcmim, Cont_drawing, 64.805, 11.705, 0.16, 0.16, 4, 2, 0.345, 0.375)
A(rfcmim, Cont_drawing, 66.19, 11.705, 0.16, 0.16, 3, 2, 0.345, 0.375)
A(rfcmim, Cont_drawing, 67.23, 11.705, 0.16, 0.16, 4, 2, 0.345, 0.375)
A(rfcmim, Cont_drawing, 68.615, 11.705, 0.16, 0.16, 3, 2, 0.345, 0.375)
A(rfcmim, Cont_drawing, 69.655, 11.705, 0.16, 0.16, 4, 2, 0.345, 0.375)
A(rfcmim, Cont_drawing, 71.04, 11.705, 0.16, 0.16, 3, 2, 0.345, 0.375)
R(rfcmim, Cont_drawing, [(12.08,-5.24,12.24,-5.08), (42.08,-5.24,42.24,-5.08), (72.08,-5.24,72.24,-5.08), (10.96,-3.24,11.12,-3.08), (40.96,-3.24,41.12,-3.08), (70.96,-3.24,71.12,-3.08), (10.96,-2.88,11.12,-2.72), (40.96,-2.88,41.12,-2.72), (70.96,-2.88,71.12,-2.72), (10.96,-2.515,11.12,-2.355), (40.96,-2.515,41.12,-2.355), (70.96,-2.515,71.12,-2.355), (10.96,-1.065,11.12,-0.905), (40.96,-1.065,41.12,-0.905), (70.96,-1.065,71.12,-0.905), (10.96,-0.7,11.12,-0.54), (40.96,-0.7,41.12,-0.54), (70.96,-0.7,71.12,-0.54), (70.96,0.75,71.12,0.91), (10.96,5.36,11.12,5.52), (40.96,5.36,41.12,5.52), (10.96,5.72,11.12,5.88), (40.96,5.72,41.12,5.88), (10.96,6.085,11.12,6.245), (40.96,6.085,41.12,6.245), (70.96,6.085,71.12,6.245), (10.96,7.535,11.12,7.695), (40.96,7.535,41.12,7.695), (70.96,7.535,71.12,7.695), (10.96,7.9,11.12,8.06), (40.96,7.9,41.12,8.06), (70.96,7.9,71.12,8.06), (-5.24,10.08,-5.08,10.24), (24.76,10.08,24.92,10.24), (54.76,10.08,54.92,10.24), (12.08,10.96,12.24,11.12), (42.08,10.96,42.24,11.12), (72.08,10.96,72.24,11.12)])
P(rfcmim, Metal1_drawing, [(54.4,-5.6),(54.4,12.6),(72.6,12.6),(72.6,6),(70.6,6),(70.6,10.6),(56.4,10.6),(56.4,-3.6),(70.6,-3.6),(70.6,1),(72.6,1),(72.6,-5.6)],
  [(24.4,-5.6),(24.4,12.6),(42.6,12.6),(42.6,5),(40.6,5),(40.6,10.6),(26.4,10.6),(26.4,-3.6),(40.6,-3.6),(40.6,2),(42.6,2),(42.6,-5.6)],
  [(-5.6,-5.6),(-5.6,12.6),(12.6,12.6),(12.6,5),(10.6,5),(10.6,10.6),(-3.6,10.6),(-3.6,-3.6),(10.6,-3.6),(10.6,2),(12.6,2),(12.6,-5.6)])
A(rfcmim, Metal1_pin, -5.6, -5.6, 18.2, 2, 3, 1, 30, 0)
P(rfcmim, pSD_drawing, [(24.37,-5.63),(24.37,12.63),(40.57,12.63),(40.57,10.57),(26.43,10.57),(26.43,-3.57),(40.57,-3.57),(40.57,12.63),(42.63,12.63),(42.63,-5.63)],
  [(54.37,-5.63),(54.37,12.63),(70.57,12.63),(70.57,10.57),(56.43,10.57),(56.43,-3.57),(70.57,-3.57),(70.57,12.63),(72.63,12.63),(72.63,-5.63)],
  [(-5.63,-5.63),(-5.63,12.63),(10.57,12.63),(10.57,10.57),(-3.57,10.57),(-3.57,-3.57),(10.57,-3.57),(10.57,12.63),(12.63,12.63),(12.63,-5.63)])
R(rfcmim, MIM_drawing, [(0,0,7,7), (30,0,37,7.2), (60,0,67,7)])
A(rfcmim, PWell_block, -3, -3, 13, 13, 3, 1, 30, 0)
R(rfcmim, Metal5_drawing, [(-0.6,-0.6,7.6,7.6), (-0.6,-0.6,7.6,7.6), (29.4,-0.6,37.6,7.857), (59.4,-0.6,67.6,7.6), (59.4,-0.6,67.6,7.6), (67.6,1,72.6,6), (7.6,2,12.6,5), (37.6,2,42.6,5)])
R(rfcmim, Metal5_pin, [(70.6,1,72.6,6), (10.6,2,12.6,5), (40.6,2,42.6,5)])
A(rfcmim, TopMetal1_drawing, 0.36, 0.36, 6.28, 6.28, 3, 1, 30, 0)
A(rfcmim, TopMetal1_drawing, -5.6, 2, 5.96, 3, 3, 1, 30, 0)
A(rfcmim, TopMetal1_pin, -5.6, 2, 2, 3, 3, 1, 30, 0)
A(rfcmim, Vmim_drawing, 1.78, 0.78, 0.42, 0.42, 5, 2, 1.005, 1)
A(rfcmim, Vmim_drawing, 31.78, 0.78, 0.42, 0.42, 5, 2, 1.005, 1)
A(rfcmim, Vmim_drawing, 61.78, 0.78, 0.42, 0.42, 5, 2, 1.005, 1)
A(rfcmim, Vmim_drawing, 0.78, 1.78, 0.42, 0.42, 1, 5, 0, 1.005)
A(rfcmim, Vmim_drawing, 30.78, 1.78, 0.42, 0.42, 1, 5, 0, 1.005)
A(rfcmim, Vmim_drawing, 60.78, 1.78, 0.42, 0.42, 1, 5, 0, 1.005)
A(rfcmim, Vmim_drawing, 1.78, 2.785, 0.42, 0.42, 5, 4, 1.005, 1.005)
A(rfcmim, Vmim_drawing, 31.78, 2.785, 0.42, 0.42, 5, 4, 1.005, 1.005)
A(rfcmim, Vmim_drawing, 61.78, 2.785, 0.42, 0.42, 5, 4, 1.005, 1.005)
R(rfcmim, Vmim_drawing, [(0.78,0.78,1.2,1.2), (30.78,0.78,31.2,1.2), (60.78,0.78,61.2,1.2)])
rfcmim.add(gdstk.Label('C=74.832f', (33.5,-2), layer=63, texttype=0))
rfcmim.add(gdstk.Label('rfcmim', (33.5,9), layer=63, texttype=0))
rfcmim.add(gdstk.Label('TIE', (33.5,-4.6), layer=63, texttype=0))
rfcmim.add(gdstk.Label('MINUS', (41.6,3.5), layer=63, texttype=0))
rfcmim.add(gdstk.Label('PLUS', (25.4,3.5), layer=63, texttype=0))
rfcmim.add(gdstk.Label('C=74.832f', (63.5,-2), layer=63, texttype=0))
rfcmim.add(gdstk.Label('rfcmim', (63.5,9), layer=63, texttype=0))
rfcmim.add(gdstk.Label('TIE', (63.5,-4.6), layer=63, texttype=0))
rfcmim.add(gdstk.Label('MINUS', (71.6,3.5), layer=63, texttype=0))
rfcmim.add(gdstk.Label('PLUS', (55.4,3.5), layer=63, texttype=0))
rfcmim.add(gdstk.Label('C=74.832f', (3.5,-2), layer=63, texttype=0))
rfcmim.add(gdstk.Label('rfcmim', (3.5,9), layer=63, texttype=0))
rfcmim.add(gdstk.Label('TIE', (3.5,-4.6), layer=63, texttype=0))
rfcmim.add(gdstk.Label('MINUS', (11.6,3.5), layer=63, texttype=0))
rfcmim.add(gdstk.Label('PLUS', (-4.6,3.5), layer=63, texttype=0))

lib.write_gds('rfcmim.gds')
